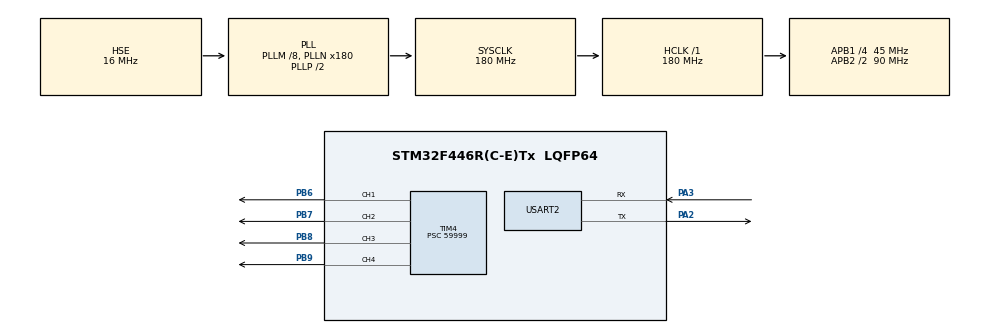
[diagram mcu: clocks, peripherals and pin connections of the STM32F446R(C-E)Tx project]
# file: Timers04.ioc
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Mcu.Family=STM32F4
Mcu.Name=STM32F446R(C-E)Tx
Mcu.Package=LQFP64
Mcu.UserConstants=SAMPLE_RANGE,1500
NVIC.PriorityGroup=NVIC_PRIORITYGROUP_4
NVIC.TIM4_IRQn=true\:0\:0\:false\:false\:true\:true\:true\:true
PA13.Mode=Serial_Wire
PA13.Signal=SYS_JTMS-SWDIO
PA14.Mode=Serial_Wire
PA14.Signal=SYS_JTCK-SWCLK
PA2.Mode=Asynchronous
PA2.Signal=USART2_TX
PA3.Mode=Asynchronous
PA3.Signal=USART2_RX
PB6.Signal=S_TIM4_CH1
PB7.Signal=S_TIM4_CH2
PB8.Signal=S_TIM4_CH3
PB9.Signal=S_TIM4_CH4
PH0-OSC_IN.Mode=HSE-External-Oscillator
PH0-OSC_IN.Signal=RCC_OSC_IN
PH1-OSC_OUT.Mode=HSE-External-Oscillator
PH1-OSC_OUT.Signal=RCC_OSC_OUT
ProjectManager.HeapSize=0x200
ProjectManager.StackSize=0x400
ProjectManager.TargetToolchain=STM32CubeIDE
RCC.AHBFreq_Value=180000000
RCC.APB1CLKDivider=RCC_HCLK_DIV4
RCC.APB1Freq_Value=45000000
RCC.APB1TimFreq_Value=90000000
RCC.APB2CLKDivider=RCC_HCLK_DIV2
RCC.APB2Freq_Value=90000000
RCC.APB2TimFreq_Value=180000000
RCC.CortexFreq_Value=180000000
RCC.HCLKFreq_Value=180000000
RCC.HSE_VALUE=16000000
RCC.PLLM=8
RCC.PLLN=180
RCC.PLLSourceVirtual=RCC_PLLSOURCE_HSE
RCC.SYSCLKFreq_VALUE=180000000
RCC.SYSCLKSource=RCC_SYSCLKSOURCE_PLLCLK
RCC.USBFreq_Value=180000000
RCC.VCOOutputFreq_Value=360000000
SH.S_TIM4_CH1.0=TIM4_CH1,PWM Generation1 CH1
SH.S_TIM4_CH2.0=TIM4_CH2,PWM Generation2 CH2
SH.S_TIM4_CH3.0=TIM4_CH3,PWM Generation3 CH3
SH.S_TIM4_CH4.0=TIM4_CH4,PWM Generation4 CH4
TIM4.Channel-PWM\ Generation1\ CH1=TIM_CHANNEL_1
TIM4.Channel-PWM\ Generation2\ CH2=TIM_CHANNEL_2
TIM4.Channel-PWM\ Generation3\ CH3=TIM_CHANNEL_3
TIM4.Channel-PWM\ Generation4\ CH4=TIM_CHANNEL_4
TIM4.OCPolarity_1=TIM_OCPOLARITY_LOW
TIM4.OCPolarity_2=TIM_OCPOLARITY_LOW
TIM4.OCPolarity_3=TIM_OCPOLARITY_LOW
TIM4.OCPolarity_4=TIM_OCPOLARITY_LOW
TIM4.Period=SAMPLE_RANGE - 1
TIM4.Prescaler=59999
USART2.VirtualMode=VM_ASYNC
board=custom

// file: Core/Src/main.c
/* USER CODE BEGIN Header */
/**
 ******************************************************************************
 * @file           : main.c
 * @brief          : Main program body
 ******************************************************************************
 * @attention
 *
 * Copyright (c) 2026 STMicroelectronics.
 * All rights reserved.
 *
 * This software is licensed under terms that can be found in the LICENSE file
 * in the root directory of this software component.
 * If no LICENSE file comes with this software, it is provided AS-IS.
 *
 ******************************************************************************
 */
/* USER CODE END Header */
#include "main.h"

/* USER CODE BEGIN Includes */
#include <stdlib.h>
#include <stdio.h>
#include <math.h>
/* USER CODE END Includes */

/* USER CODE BEGIN PD */
#define SAMPLE_DELAY 10
#define SAMPLE_FREQ (1000 / SAMPLE_DELAY)
#define SAMPLE_MID (SAMPLE_RANGE / 2)

/* USER CODE END PD */

TIM_HandleTypeDef htim4;

UART_HandleTypeDef huart2;

/* USER CODE BEGIN PV */
TIM_HandleTypeDef htim4;

UART_HandleTypeDef huart2;

/* USER CODE BEGIN PV */

uint32_t callBackCounter = 0;

uint32_t ledChannels[] =
		{
		TIM_CHANNEL_1,
		TIM_CHANNEL_2,
		TIM_CHANNEL_3,
		TIM_CHANNEL_4
		};

float angles[] =
		{ 0, 0, 0, 0 };

float angleChanges[] =
		{
				1 * (2 * M_PI / SAMPLE_FREQ),
				2 * (2 * M_PI / SAMPLE_FREQ),
				0.5 * (2 * M_PI / SAMPLE_FREQ),
				0.25 * (2 * M_PI / SAMPLE_FREQ)
		};
/* USER CODE END PV */

void SystemClock_Config(void);
static void MX_GPIO_Init(void);
static void MX_TIM4_Init(void);
static void MX_USART2_UART_Init(void);

/* USER CODE BEGIN 0 */
int _write(int file, char *ptr, int len)
{
	HAL_UART_Transmit(&huart2, (uint8_t*) ptr, len, HAL_MAX_DELAY);
	return len;
}

inline void HAL_TIM_PWM_PulseFinishedCallback(TIM_HandleTypeDef *htim)
{
	if (htim->Instance == TIM4)
	{
		for (int i = 0; i < sizeof(angles) / sizeof(angles[0]); ++i)
		{
			angles[i] += angleChanges[i];

			if (angles[i] >= 2 * M_PI)
			{
				angles[i] -= (2 * M_PI);
			}

			__HAL_TIM_SET_COMPARE(&htim4, ledChannels[i], SAMPLE_MID - (SAMPLE_MID * sin(angles[i])));
		}

		callBackCounter++;
	}
}

/* USER CODE END 0 */

int main(void)
{

	/* MCU Configuration--------------------------------------------------------*/

	/* Reset of all peripherals, Initializes the Flash interface and the Systick. */
	HAL_Init();

	/* Configure the system clock */
	SystemClock_Config();

	/* Initialize all configured peripherals */
	MX_GPIO_Init();
	MX_TIM4_Init();
	MX_USART2_UART_Init();
	/* USER CODE BEGIN 2 */
	printf("\r\n\r\n\r\nStarting Timers04 - Edit 2...\r\n");

	// Start the timer
	HAL_TIM_PWM_Start_IT(&htim4, TIM_CHANNEL_1);
	HAL_TIM_PWM_Start(&htim4, TIM_CHANNEL_2);
	HAL_TIM_PWM_Start(&htim4, TIM_CHANNEL_3);
	HAL_TIM_PWM_Start(&htim4, TIM_CHANNEL_4);

	/* USER CODE END 2 */

	/* Infinite loop */
	/* USER CODE BEGIN WHILE */

	uint32_t msSinceReset = 0;
	uint32_t nextTick = 0;
	uint32_t loopCount = 0;
	uint32_t nextSample = SAMPLE_DELAY;

	while (1)
	{
		msSinceReset = HAL_GetTick(); // number of milliseconds since power on or reset

		if (msSinceReset >= nextTick)
		{
			printf("Tick: %lu (Loop Count: %lu CallBack Counter: %lu)\r\n", msSinceReset / 1000, loopCount, callBackCounter);

			loopCount = 0;

			nextTick = msSinceReset + 1000;

		}

		if (msSinceReset >= nextSample)
		{

			nextSample = msSinceReset + SAMPLE_DELAY;
		}

		loopCount++;

		/* USER CODE END WHILE */

	}
}

void SystemClock_Config(void)
{
	RCC_OscInitTypeDef RCC_OscInitStruct =
			{ 0 };
	RCC_ClkInitTypeDef RCC_ClkInitStruct =
			{ 0 };

	/** Configure the main internal regulator output voltage
	 */
	__HAL_RCC_PWR_CLK_ENABLE();
	__HAL_PWR_VOLTAGESCALING_CONFIG(PWR_REGULATOR_VOLTAGE_SCALE1);

	/** Initializes the RCC Oscillators according to the specified parameters
	 * in the RCC_OscInitTypeDef structure.
	 */
	RCC_OscInitStruct.OscillatorType = RCC_OSCILLATORTYPE_HSE;
	RCC_OscInitStruct.HSEState = RCC_HSE_ON;
	RCC_OscInitStruct.PLL.PLLState = RCC_PLL_ON;
	RCC_OscInitStruct.PLL.PLLSource = RCC_PLLSOURCE_HSE;
	RCC_OscInitStruct.PLL.PLLM = 8;
	RCC_OscInitStruct.PLL.PLLN = 180;
	RCC_OscInitStruct.PLL.PLLP = RCC_PLLP_DIV2;
	RCC_OscInitStruct.PLL.PLLQ = 2;
	RCC_OscInitStruct.PLL.PLLR = 2;
	if (HAL_RCC_OscConfig(&RCC_OscInitStruct) != HAL_OK)
	{
		Error_Handler();
	}

	/** Activate the Over-Drive mode
	 */
	if (HAL_PWREx_EnableOverDrive() != HAL_OK)
	{
		Error_Handler();
	}

	/** Initializes the CPU, AHB and APB buses clocks
	 */
	RCC_ClkInitStruct.ClockType = RCC_CLOCKTYPE_HCLK | RCC_CLOCKTYPE_SYSCLK
			| RCC_CLOCKTYPE_PCLK1 | RCC_CLOCKTYPE_PCLK2;
	RCC_ClkInitStruct.SYSCLKSource = RCC_SYSCLKSOURCE_PLLCLK;
	RCC_ClkInitStruct.AHBCLKDivider = RCC_SYSCLK_DIV1;
	RCC_ClkInitStruct.APB1CLKDivider = RCC_HCLK_DIV4;
	RCC_ClkInitStruct.APB2CLKDivider = RCC_HCLK_DIV2;

	if (HAL_RCC_ClockConfig(&RCC_ClkInitStruct, FLASH_LATENCY_5) != HAL_OK)
	{
		Error_Handler();
	}
}

static void MX_TIM4_Init(void)
{

	TIM_MasterConfigTypeDef sMasterConfig =
			{ 0 };
	TIM_OC_InitTypeDef sConfigOC =
			{ 0 };

	htim4.Instance = TIM4;
	htim4.Init.Prescaler = 59999;
	htim4.Init.CounterMode = TIM_COUNTERMODE_UP;
	htim4.Init.Period = SAMPLE_RANGE - 1;
	htim4.Init.ClockDivision = TIM_CLOCKDIVISION_DIV1;
	htim4.Init.AutoReloadPreload = TIM_AUTORELOAD_PRELOAD_DISABLE;
	if (HAL_TIM_PWM_Init(&htim4) != HAL_OK)
	{
		Error_Handler();
	}
	sMasterConfig.MasterOutputTrigger = TIM_TRGO_RESET;
	sMasterConfig.MasterSlaveMode = TIM_MASTERSLAVEMODE_DISABLE;
	if (HAL_TIMEx_MasterConfigSynchronization(&htim4, &sMasterConfig) != HAL_OK)
	{
		Error_Handler();
	}
	sConfigOC.OCMode = TIM_OCMODE_PWM1;
	sConfigOC.Pulse = 0;
	sConfigOC.OCPolarity = TIM_OCPOLARITY_LOW;
	sConfigOC.OCFastMode = TIM_OCFAST_DISABLE;
	if (HAL_TIM_PWM_ConfigChannel(&htim4, &sConfigOC, TIM_CHANNEL_1) != HAL_OK)
	{
		Error_Handler();
	}
	if (HAL_TIM_PWM_ConfigChannel(&htim4, &sConfigOC, TIM_CHANNEL_2) != HAL_OK)
	{
		Error_Handler();
	}
	if (HAL_TIM_PWM_ConfigChannel(&htim4, &sConfigOC, TIM_CHANNEL_3) != HAL_OK)
	{
		Error_Handler();
	}
	if (HAL_TIM_PWM_ConfigChannel(&htim4, &sConfigOC, TIM_CHANNEL_4) != HAL_OK)
	{
		Error_Handler();
	}
	HAL_TIM_MspPostInit(&htim4);

}

static void MX_USART2_UART_Init(void)
{

	huart2.Instance = USART2;
	huart2.Init.BaudRate = 115200;
	huart2.Init.WordLength = UART_WORDLENGTH_8B;
	huart2.Init.StopBits = UART_STOPBITS_1;
	huart2.Init.Parity = UART_PARITY_NONE;
	huart2.Init.Mode = UART_MODE_TX_RX;
	huart2.Init.HwFlowCtl = UART_HWCONTROL_NONE;
	huart2.Init.OverSampling = UART_OVERSAMPLING_16;
	if (HAL_UART_Init(&huart2) != HAL_OK)
	{
		Error_Handler();
	}

}

static void MX_GPIO_Init(void)
{

	/* GPIO Ports Clock Enable */
	__HAL_RCC_GPIOH_CLK_ENABLE();
	__HAL_RCC_GPIOA_CLK_ENABLE();
	__HAL_RCC_GPIOB_CLK_ENABLE();

}

void Error_Handler(void)
{
	__disable_irq();
	while (1)
	{
	}
}
